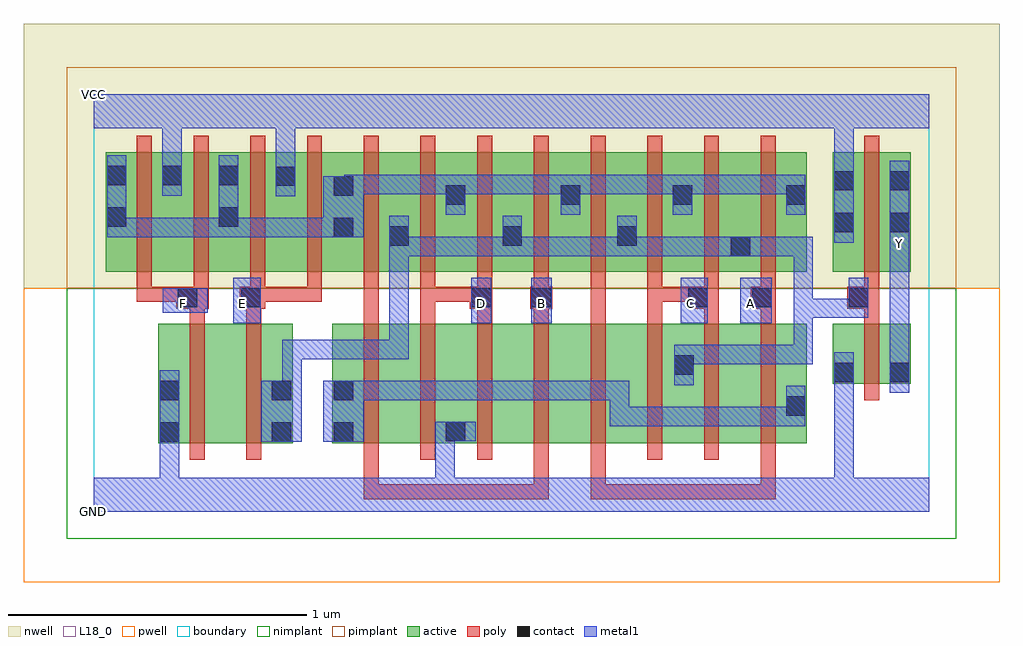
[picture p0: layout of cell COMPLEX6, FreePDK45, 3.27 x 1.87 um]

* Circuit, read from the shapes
.subckt COMPLEX6 A B C D E F GND VCC Y
M1 n1 F GND VSUBS nfet w=0.4u l=0.05u
M2 n2 E n1 VSUBS nfet w=0.4u l=0.05u
M3 n3 B n4 VSUBS nfet w=0.4u l=0.05u
M4 GND D n3 VSUBS nfet w=0.4u l=0.05u
M5 n5 D GND VSUBS nfet w=0.4u l=0.05u
M6 n6 B n5 VSUBS nfet w=0.4u l=0.05u
M7 n7 A n6 VSUBS nfet w=0.4u l=0.05u
M8 n2 C n7 VSUBS nfet w=0.4u l=0.05u
M9 n8 C n2 VSUBS nfet w=0.4u l=0.05u
M10 n4 A n8 VSUBS nfet w=0.4u l=0.05u
M11 Y n2 GND VSUBS nfet w=0.2u l=0.05u
M12 VCC F n9 n10 pfet w=0.4u l=0.05u m=2
M13 VCC E n9 n10 pfet w=0.4u l=0.05u m=2
M14 n2 B n9 n10 pfet w=0.4u l=0.05u m=2
M15 n9 D n2 n10 pfet w=0.4u l=0.05u m=2
M16 n2 A n9 n10 pfet w=0.4u l=0.05u m=2
M17 n9 C n2 n10 pfet w=0.4u l=0.05u m=2
M18 Y n2 VCC n10 pfet w=0.4u l=0.05u
.ends

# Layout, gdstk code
import gdstk
lib = gdstk.Library(unit=1e-6, precision=1e-09)
def R(c, l, rs):  # rectangles x0, y0, x1, y1
    for r in rs: c.add(gdstk.rectangle(r[:2], r[2:], *l))
def A(c, l, x, y, w, h, nx, ny, dx, dy):  # array of equal rectangles
    R(c, l, [(x+i*dx, y+j*dy, x+i*dx+w, y+j*dy+h) for i in range(nx) for j in range(ny)])
active = (1, 0)
pwell = (2, 0)
nwell = (3, 0)
nimplant = (4, 0)
pimplant = (5, 0)
poly = (9, 0)
contact = (10, 0)
metal1 = (11, 0)
L18_0 = (18, 0)
boundary = (235, 0)

complex6 = lib.new_cell('COMPLEX6')
R(complex6, active, [(0.217,0.23,0.442,0.63), (0.217,0.23,0.292,0.63), (0.442,0.23,0.667,0.63), (0.592,0.23,0.667,0.63), (0.8,0.23,1.025,0.63), (0.8,0.23,0.875,0.63), (1.025,0.23,1.25,0.63), (1.175,0.23,1.405,0.63), (1.405,0.23,1.595,0.63), (1.595,0.23,1.785,0.63), (1.785,0.23,2.015,0.63), (1.94,0.23,2.165,0.63), (2.165,0.23,2.39,0.63), (1.175,0.232,1.25,0.617), (1.94,0.295,2.015,0.617), (2.315,0.295,2.39,0.537), (2.477,0.43,2.552,0.63), (2.477,0.43,2.737,0.63), (2.662,0.43,2.737,0.63), (0.04,0.805,0.115,1.2), (0.04,0.805,0.3,1.205), (0.225,0.805,0.49,1.205), (0.415,0.805,0.68,1.205), (0.605,0.805,0.875,1.205), (0.8,0.805,1.06,1.205), (0.985,0.805,1.06,1.07), (0.985,0.805,1.25,1.205), (1.175,0.805,1.44,1.205), (1.365,0.805,1.44,1.07), (1.365,0.805,1.635,1.205), (1.56,0.805,1.825,1.205), (1.75,0.805,2.01,1.205), (1.75,0.805,1.825,1.07), (1.935,0.805,2.205,1.205), (2.13,0.805,2.39,1.205), (2.13,0.805,2.205,1.07), (2.315,0.805,2.39,1.2), (2.477,0.805,2.552,1.205), (2.477,0.805,2.737,1.205), (2.662,0.805,2.737,1.2), (0.225,0.907,0.3,1.205), (0.415,0.907,0.49,1.2), (0.605,0.907,0.68,1.205), (0.8,0.907,0.875,1.2), (1.175,0.907,1.25,1.2), (1.56,0.907,1.635,1.2), (1.935,0.907,2.01,1.2)])
R(complex6, pwell, [(-0.235,-0.235,3.035,0.75)])
R(complex6, nwell, [(-0.235,0.75,3.035,1.635)])
R(complex6, nimplant, [(-0.09,-0.09,2.89,0.75)])
R(complex6, pimplant, [(-0.09,0.75,2.89,1.49)])
A(complex6, poly, 0.905, 0.175, 0.05, 0.51, 8, 1, 0.19, 0)
A(complex6, poly, 0.145, 0.705, 0.05, 0.095, 12, 1, 0.19, 0)
A(complex6, poly, 0.525, 0.705, 0.05, 0.05, 4, 1, 0.19, 0)
A(complex6, poly, 0.145, 0.75, 0.05, 0.51, 12, 1, 0.19, 0)
R(complex6, poly, [(0.905,0.042,0.955,0.225), (0.905,0.042,0.955,0.092), (0.905,0.042,1.087,0.092), (1.037,0.042,1.087,0.092), (1.037,0.042,1.087,0.092), (1.037,0.042,1.087,0.092), (1.037,0.042,1.277,0.092), (1.227,0.042,1.277,0.092), (1.227,0.042,1.277,0.092), (1.227,0.042,1.277,0.092), (1.227,0.042,1.525,0.092), (1.475,0.042,1.525,0.225), (1.475,0.042,1.525,0.092), (1.475,0.042,1.525,0.092), (1.475,0.042,1.525,0.092), (1.665,0.042,1.715,0.225), (1.665,0.042,1.715,0.092), (1.665,0.042,1.715,0.092), (1.665,0.042,1.715,0.092), (1.665,0.042,1.905,0.092), (1.855,0.042,1.905,0.092), (1.855,0.042,1.905,0.092), (1.855,0.042,1.905,0.092), (1.855,0.042,2.12,0.092), (2.07,0.042,2.285,0.092), (2.07,0.042,2.12,0.092), (2.07,0.042,2.12,0.092), (2.07,0.042,2.12,0.092), (2.235,0.042,2.285,0.225), (2.235,0.042,2.285,0.092), (0.322,0.175,0.372,0.685), (0.512,0.175,0.562,0.685), (2.582,0.375,2.632,0.685), (0.322,0.635,0.372,0.73), (0.512,0.635,0.562,0.73), (0.905,0.635,0.955,0.755), (1.095,0.635,1.145,0.755), (1.285,0.635,1.335,0.73), (1.475,0.635,1.525,0.73), (1.665,0.635,1.715,0.755), (1.855,0.635,1.905,0.755), (2.045,0.635,2.095,0.73), (2.235,0.635,2.285,0.73), (2.582,0.635,2.632,0.73), (0.277,0.68,0.385,0.755), (0.49,0.68,0.575,0.755), (1.26,0.68,1.335,0.755), (1.462,0.68,1.537,0.755), (1.987,0.68,2.095,0.755), (2.202,0.68,2.285,0.755), (2.525,0.68,2.632,0.755), (0.145,0.705,0.195,0.755), (0.145,0.705,0.195,0.755), (0.145,0.705,0.195,0.755), (0.145,0.705,0.327,0.755), (0.525,0.705,0.575,0.755), (0.525,0.705,0.765,0.755), (1.095,0.705,1.31,0.755), (1.26,0.705,1.31,0.755), (1.26,0.705,1.31,0.755), (1.665,0.705,1.715,0.755), (1.855,0.705,1.905,0.755), (1.855,0.705,1.905,0.755), (1.855,0.705,1.905,0.755), (1.855,0.705,2.037,0.755), (2.582,0.705,2.632,0.8), (2.582,0.75,2.632,1.26)])
R(complex6, contact, [(0.222,0.235,0.287,0.3), (0.597,0.235,0.662,0.3), (0.805,0.235,0.87,0.3), (1.18,0.237,1.245,0.302), (2.32,0.322,2.385,0.387), (0.222,0.375,0.287,0.44), (0.597,0.375,0.662,0.44), (0.805,0.375,0.87,0.44), (2.482,0.435,2.547,0.5), (2.667,0.435,2.732,0.5), (1.945,0.46,2.01,0.525), (0.282,0.685,0.347,0.75), (0.495,0.685,0.56,0.75), (1.265,0.685,1.33,0.75), (1.467,0.685,1.532,0.75), (1.992,0.685,2.057,0.75), (2.207,0.685,2.272,0.75), (2.53,0.685,2.595,0.75), (2.135,0.857,2.2,0.922), (0.99,0.892,1.055,0.957), (1.37,0.892,1.435,0.957), (1.755,0.892,1.82,0.957), (0.805,0.92,0.87,0.985), (2.482,0.937,2.547,1.002), (2.667,0.937,2.732,1.002), (0.045,0.955,0.11,1.02), (0.42,0.955,0.485,1.02), (1.18,1.03,1.245,1.095), (1.565,1.03,1.63,1.095), (1.94,1.03,2.005,1.095), (2.32,1.03,2.385,1.095), (0.805,1.06,0.87,1.125), (2.482,1.077,2.547,1.142), (2.667,1.077,2.732,1.142), (0.61,1.092,0.675,1.157), (0.045,1.095,0.11,1.16), (0.23,1.095,0.295,1.16), (0.42,1.095,0.485,1.16)])
R(complex6, metal1, [(0,0,2.8,0.115), (0.222,0.05,0.287,0.115), (0.222,0.05,0.287,0.115), (0.222,0.05,0.287,0.265), (1.145,0.05,1.21,0.302), (2.482,0.05,2.547,0.115), (2.482,0.05,2.547,0.115), (2.482,0.05,2.547,0.465), (0.222,0.2,0.287,0.475), (0.562,0.235,0.697,0.44), (0.77,0.235,0.905,0.44), (1.145,0.237,1.21,0.302), (1.145,0.237,1.21,0.302), (1.145,0.237,1.28,0.302), (1.73,0.287,1.795,0.352), (1.73,0.287,1.795,0.352), (1.73,0.287,1.795,0.352), (1.73,0.287,2.027,0.352), (1.73,0.287,1.795,0.44), (1.962,0.287,2.027,0.352), (1.962,0.287,2.027,0.352), (1.962,0.287,2.027,0.352), (1.962,0.287,2.247,0.352), (2.182,0.287,2.247,0.352), (2.182,0.287,2.247,0.352), (2.182,0.287,2.247,0.352), (2.182,0.287,2.385,0.352), (2.32,0.287,2.385,0.422), (0.632,0.375,0.697,0.577), (0.84,0.375,0.905,0.44), (0.84,0.375,0.905,0.44), (0.84,0.375,1.042,0.44), (0.977,0.375,1.042,0.44), (0.977,0.375,1.042,0.44), (0.977,0.375,1.042,0.44), (0.977,0.375,1.192,0.44), (1.127,0.375,1.192,0.44), (1.127,0.375,1.382,0.44), (1.317,0.375,1.382,0.44), (1.317,0.375,1.382,0.44), (1.317,0.375,1.382,0.44), (1.317,0.375,1.52,0.44), (1.455,0.375,1.52,0.44), (1.455,0.375,1.64,0.44), (1.575,0.375,1.64,0.44), (1.575,0.375,1.657,0.44), (1.592,0.375,1.657,0.44), (1.592,0.375,1.795,0.44), (1.73,0.375,1.795,0.44), (2.482,0.4,2.547,0.465), (2.482,0.4,2.547,0.465), (2.482,0.4,2.547,0.465), (2.482,0.4,2.547,0.465), (2.482,0.4,2.547,0.535), (2.667,0.4,2.732,0.535), (1.945,0.425,2.01,0.56), (2.667,0.47,2.732,0.897), (1.945,0.495,2.01,0.56), (1.945,0.495,2.01,0.56), (1.945,0.495,2.247,0.56), (2.182,0.495,2.247,0.56), (2.182,0.495,2.247,0.56), (2.182,0.495,2.247,0.56), (2.182,0.495,2.41,0.56), (2.345,0.495,2.41,0.56), (2.345,0.495,2.41,0.715), (0.632,0.512,0.697,0.577), (0.632,0.512,0.697,0.577), (0.632,0.512,0.697,0.577), (0.632,0.512,0.905,0.577), (0.84,0.512,0.905,0.577), (0.84,0.512,0.905,0.577), (0.84,0.512,0.905,0.577), (0.84,0.512,1.055,0.577), (0.99,0.512,1.055,0.577), (0.99,0.512,1.055,0.922), (0.467,0.632,0.56,0.785), (1.265,0.632,1.332,0.785), (1.467,0.632,1.535,0.785), (1.967,0.632,2.057,0.785), (2.167,0.632,2.272,0.785), (2.345,0.65,2.41,0.715), (2.345,0.65,2.595,0.715), (2.345,0.65,2.41,0.922), (2.53,0.65,2.595,0.715), (2.53,0.65,2.595,0.715), (2.53,0.65,2.595,0.785), (0.232,0.667,0.382,0.75), (2.667,0.832,2.732,0.967), (0.99,0.857,1.055,0.922), (0.99,0.857,1.055,0.922), (0.99,0.857,1.055,0.992), (0.99,0.857,1.192,0.922), (1.127,0.857,1.192,0.922), (1.127,0.857,1.192,0.922), (1.127,0.857,1.192,0.922), (1.127,0.857,1.435,0.922), (1.37,0.857,1.435,0.992), (1.37,0.857,1.52,0.922), (1.455,0.857,1.52,0.922), (1.455,0.857,1.657,0.922), (1.592,0.857,1.657,0.922), (1.592,0.857,1.657,0.922), (1.592,0.857,1.657,0.922), (1.592,0.857,1.82,0.922), (1.755,0.857,1.82,0.922), (1.755,0.857,1.82,0.922), (1.755,0.857,1.82,0.992), (1.755,0.857,2.027,0.922), (1.962,0.857,2.027,0.922), (1.962,0.857,2.027,0.922), (1.962,0.857,2.027,0.922), (1.962,0.857,2.165,0.922), (2.1,0.857,2.235,0.922), (2.17,0.857,2.392,0.922), (2.327,0.857,2.392,0.922), (2.327,0.857,2.41,0.922), (2.345,0.857,2.41,0.922), (2.482,0.902,2.547,1.177), (2.667,0.902,2.732,0.967), (2.667,0.902,2.732,1.177), (0.045,0.92,0.11,0.985), (0.045,0.92,0.11,0.985), (0.045,0.92,0.11,1.195), (0.045,0.92,0.247,0.985), (0.182,0.92,0.247,0.985), (0.182,0.92,0.247,0.985), (0.182,0.92,0.247,0.985), (0.182,0.92,0.485,0.985), (0.42,0.92,0.485,0.985), (0.42,0.92,0.485,0.985), (0.42,0.92,0.485,1.195), (0.42,0.92,0.697,0.985), (0.632,0.92,0.697,0.985), (0.632,0.92,0.697,0.985), (0.632,0.92,0.697,0.985), (0.632,0.92,0.835,0.985), (0.77,0.92,0.905,1.125), (1.18,0.995,1.245,1.13), (1.565,0.995,1.63,1.13), (1.94,0.995,2.005,1.13), (2.32,0.995,2.385,1.13), (0.61,1.057,0.675,1.192), (0.23,1.06,0.295,1.195), (0.84,1.06,0.905,1.125), (0.84,1.06,0.905,1.13), (0.84,1.065,0.905,1.13), (0.84,1.065,0.905,1.13), (0.84,1.065,1.042,1.13), (0.977,1.065,1.042,1.13), (0.977,1.065,1.042,1.13), (0.977,1.065,1.042,1.13), (0.977,1.065,1.245,1.13), (1.18,1.065,1.245,1.13), (1.18,1.065,1.245,1.13), (1.18,1.065,1.492,1.13), (1.427,1.065,1.492,1.13), (1.427,1.065,1.52,1.13), (1.455,1.065,1.52,1.13), (1.455,1.065,1.63,1.13), (1.565,1.065,1.657,1.13), (1.592,1.065,1.657,1.13), (1.592,1.065,1.867,1.13), (1.802,1.065,1.867,1.13), (1.802,1.065,1.867,1.13), (1.802,1.065,1.867,1.13), (1.802,1.065,2.005,1.13), (1.94,1.065,2.005,1.13), (1.94,1.065,2.005,1.13), (1.94,1.065,2.247,1.13), (2.182,1.065,2.247,1.13), (2.182,1.065,2.247,1.13), (2.182,1.065,2.247,1.13), (2.182,1.065,2.385,1.13), (2.482,1.112,2.547,1.35), (0.61,1.127,0.675,1.35), (0.23,1.13,0.295,1.35), (0,1.285,2.8,1.4)])
R(complex6, L18_0, [(0,0,2.8,0.115), (0.222,0.05,0.287,0.115), (0.222,0.05,0.287,0.115), (0.222,0.05,0.287,0.265), (1.145,0.05,1.21,0.302), (2.482,0.05,2.547,0.115), (2.482,0.05,2.547,0.115), (2.482,0.05,2.547,0.465), (0.222,0.2,0.287,0.475), (1.145,0.237,1.21,0.302), (1.145,0.237,1.21,0.302), (1.145,0.237,1.28,0.302), (2.482,0.4,2.547,0.465), (2.482,0.4,2.547,0.465), (2.482,0.4,2.547,0.465), (2.482,0.4,2.547,0.465), (2.482,0.4,2.547,0.535), (2.667,0.4,2.732,0.535), (2.667,0.47,2.732,0.897), (0.467,0.632,0.56,0.785), (1.265,0.632,1.332,0.785), (1.467,0.632,1.535,0.785), (1.967,0.632,2.057,0.785), (2.167,0.632,2.272,0.785), (0.232,0.667,0.382,0.75), (0.267,0.667,0.332,0.732), (0.467,0.667,0.532,0.732), (1.267,0.667,1.332,0.732), (1.467,0.667,1.532,0.732), (1.967,0.667,2.032,0.732), (2.167,0.667,2.232,0.732), (2.667,0.832,2.732,0.967), (2.667,0.867,2.732,0.932), (2.482,0.902,2.547,1.177), (2.667,0.902,2.732,0.967), (2.667,0.902,2.732,1.177), (0.61,1.057,0.675,1.192), (0.23,1.06,0.295,1.195), (2.482,1.112,2.547,1.35), (0.61,1.127,0.675,1.35), (0.23,1.13,0.295,1.35), (0,1.285,2.8,1.4)])
R(complex6, boundary, [(0,0,2.8,1.4)])
complex6.add(gdstk.Label('A', (2.2,0.7), layer=11, texttype=0))
complex6.add(gdstk.Label('B', (1.5,0.7), layer=11, texttype=0))
complex6.add(gdstk.Label('C', (2,0.7), layer=11, texttype=0))
complex6.add(gdstk.Label('D', (1.3,0.7), layer=11, texttype=0))
complex6.add(gdstk.Label('E', (0.5,0.7), layer=11, texttype=0))
complex6.add(gdstk.Label('F', (0.3,0.7), layer=11, texttype=0))
complex6.add(gdstk.Label('Y', (2.7,0.9), layer=11, texttype=0))
complex6.add(gdstk.Label('VCC', (0,1.4), layer=11, texttype=0))
complex6.add(gdstk.Label('GND', (0,0), layer=11, texttype=0))

lib.write_gds('COMPLEX6.gds')
